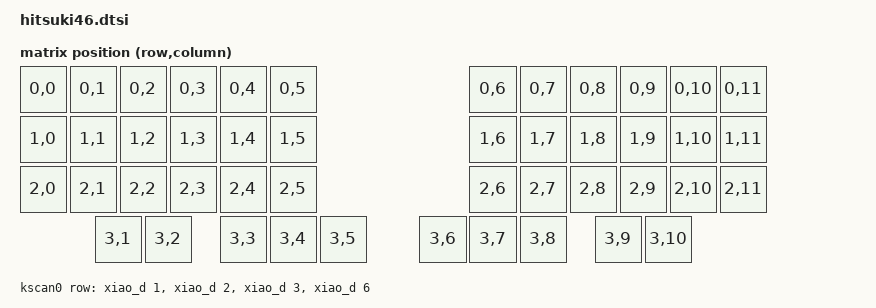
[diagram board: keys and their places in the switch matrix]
#include <dt-bindings/zmk/matrix_transform.h>
#include <dt-bindings/led/led.h>
#include <physical_layouts.dtsi>

#define RC(r,c) ((r << 6) | (c))

/ {
    chosen {
        zmk,physical-layout = &hitsuki46_physical_layout;
        zmk,battery = &non_lipo_battery;
        zmk,ws2812-widget = &led_strip;
    };

    aliases {
        led-strip = &led_strip;
    };

    hitsuki46_physical_layout: hitsuki46_physical_layout {
        compatible = "zmk,physical-layout";
        display-name = "Default";
        transform = <&default_transform>;
        kscan = <&kscan0>;

        keys  //                     w   h    x    y     rot    rx    ry
            = <&key_physical_attrs 100 100    0    0       0     0     0>
            , <&key_physical_attrs 100 100  100    0       0     0     0>
            , <&key_physical_attrs 100 100  200    0       0     0     0>
            , <&key_physical_attrs 100 100  300    0       0     0     0>
            , <&key_physical_attrs 100 100  400    0       0     0     0>
            , <&key_physical_attrs 100 100  500    0       0     0     0>
            , <&key_physical_attrs 100 100  900    0       0     0     0>
            , <&key_physical_attrs 100 100 1000    0       0     0     0>
            , <&key_physical_attrs 100 100 1100    0       0     0     0>
            , <&key_physical_attrs 100 100 1200    0       0     0     0>
            , <&key_physical_attrs 100 100 1300    0       0     0     0>
            , <&key_physical_attrs 100 100 1400    0       0     0     0>
            , <&key_physical_attrs 100 100    0  100       0     0     0>
            , <&key_physical_attrs 100 100  100  100       0     0     0>
            , <&key_physical_attrs 100 100  200  100       0     0     0>
            , <&key_physical_attrs 100 100  300  100       0     0     0>
            , <&key_physical_attrs 100 100  400  100       0     0     0>
            , <&key_physical_attrs 100 100  500  100       0     0     0>
            , <&key_physical_attrs 100 100  900  100       0     0     0>
            , <&key_physical_attrs 100 100 1000  100       0     0     0>
            , <&key_physical_attrs 100 100 1100  100       0     0     0>
            , <&key_physical_attrs 100 100 1200  100       0     0     0>
            , <&key_physical_attrs 100 100 1300  100       0     0     0>
            , <&key_physical_attrs 100 100 1400  100       0     0     0>
            , <&key_physical_attrs 100 100    0  200       0     0     0>
            , <&key_physical_attrs 100 100  100  200       0     0     0>
            , <&key_physical_attrs 100 100  200  200       0     0     0>
            , <&key_physical_attrs 100 100  300  200       0     0     0>
            , <&key_physical_attrs 100 100  400  200       0     0     0>
            , <&key_physical_attrs 100 100  500  200       0     0     0>
            , <&key_physical_attrs 100 100  900  200       0     0     0>
            , <&key_physical_attrs 100 100 1000  200       0     0     0>
            , <&key_physical_attrs 100 100 1100  200       0     0     0>
            , <&key_physical_attrs 100 100 1200  200       0     0     0>
            , <&key_physical_attrs 100 100 1300  200       0     0     0>
            , <&key_physical_attrs 100 100 1400  200       0     0     0>
            , <&key_physical_attrs 100 100  150  300       0     0     0>
            , <&key_physical_attrs 100 100  250  300       0     0     0>
            , <&key_physical_attrs 100 100  400  300       0     0     0>
            , <&key_physical_attrs 100 100  500  300       0     0     0>
            , <&key_physical_attrs 100 100  600  300       0     0     0>
            , <&key_physical_attrs 100 100  800  300       0     0     0>
            , <&key_physical_attrs 100 100  900  300       0     0     0>
            , <&key_physical_attrs 100 100 1000  300       0     0     0>
            , <&key_physical_attrs 100 100 1150  300       0     0     0>
            , <&key_physical_attrs 100 100 1250  300       0     0     0>
            ;
    };

    default_transform: keymap_transform_0 {
        compatible = "zmk,matrix-transform";
        columns = <12>;
        rows = <4>;
        map = <
            RC(0,0) RC(0,1) RC(0,2) RC(0,3) RC(0,4) RC(0,5)     RC(0,6) RC(0,7) RC(0,8) RC(0,9) RC(0,10) RC(0,11)
            RC(1,0) RC(1,1) RC(1,2) RC(1,3) RC(1,4) RC(1,5)     RC(1,6) RC(1,7) RC(1,8) RC(1,9) RC(1,10) RC(1,11)
            RC(2,0) RC(2,1) RC(2,2) RC(2,3) RC(2,4) RC(2,5)     RC(2,6) RC(2,7) RC(2,8) RC(2,9) RC(2,10) RC(2,11)
                    RC(3,1) RC(3,2) RC(3,3) RC(3,4) RC(3,5)     RC(3,6) RC(3,7) RC(3,8) RC(3,9) RC(3,10)
        >;
    };

    kscan0: kscan {
        compatible = "zmk,kscan-gpio-matrix";
        label = "KSCAN";
        diode-direction = "col2row";
        wakeup-source;
            row-gpios
                = <&xiao_d 1 (GPIO_ACTIVE_HIGH | GPIO_PULL_DOWN)>
                , <&xiao_d 2 (GPIO_ACTIVE_HIGH | GPIO_PULL_DOWN)>
                , <&xiao_d 3 (GPIO_ACTIVE_HIGH | GPIO_PULL_DOWN)>
                , <&xiao_d 6 (GPIO_ACTIVE_HIGH | GPIO_PULL_DOWN)>
                ;
    };

    // Split input device for forwarding left trackball data from peripheral to central
    split_inputs: split_inputs {
        compatible = "zmk,split-inputs";
        #address-cells = <1>;
        #size-cells = <0>;

        trackball_left_split: trackball_left_split@0 {
            compatible = "zmk,input-split";
            reg = <0>;
        };
    };

    trackball_left_listener: trackball_left_listener {
        compatible = "zmk,input-listener";
        status = "disabled";
        device = <&trackball_left_split>;
    };

    trackball_right_listener: trackball_right_listener {
        compatible = "zmk,input-listener";
        status = "disabled";
    };

    // LED Power Control for WS2812
    led_power: led_power {
        compatible = "zmk,ext-power-generic";
        control-gpios = <&gpio0 15 (GPIO_ACTIVE_LOW)>; // P-channel MOSFET control
        label = "LED Power Control";
        init-delay-ms = <50>;
    };

    vbatt: vbatt {
        // Disable default battery monitoring
        status = "disabled";
    };
    non_lipo_battery: non_lipo_battery {
        compatible = "zmk,non-lipo-battery";
        io-channels = <&adc 0>;
    };

};

&adc {
    status = "okay";
};

&spi0 {
    status = "disabled";

    trackball: trackball@0 {
        status = "disabled";
        reg = <0>;
    };
};

// SPI1 for WS2812 LED control
&spi1 {
    status = "okay";
    compatible = "nordic,nrf-spim";
    pinctrl-0 = <&spi1_default>;
    pinctrl-1 = <&spi1_sleep>;
    pinctrl-names = "default", "sleep";

    led_strip: ws2812@0 {
        compatible = "worldsemi,ws2812-spi";
        reg = <0>;
        spi-max-frequency = <4000000>;
        chain-length = <1>;
        spi-one-frame = <0x70>;
        spi-zero-frame = <0x40>;
        color-mapping = <LED_COLOR_ID_GREEN LED_COLOR_ID_RED LED_COLOR_ID_BLUE>;
    };
};

// NFC pins as GPIO (Zephyr 4.1)
&uicr {
    nfct-pins-as-gpios;
};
